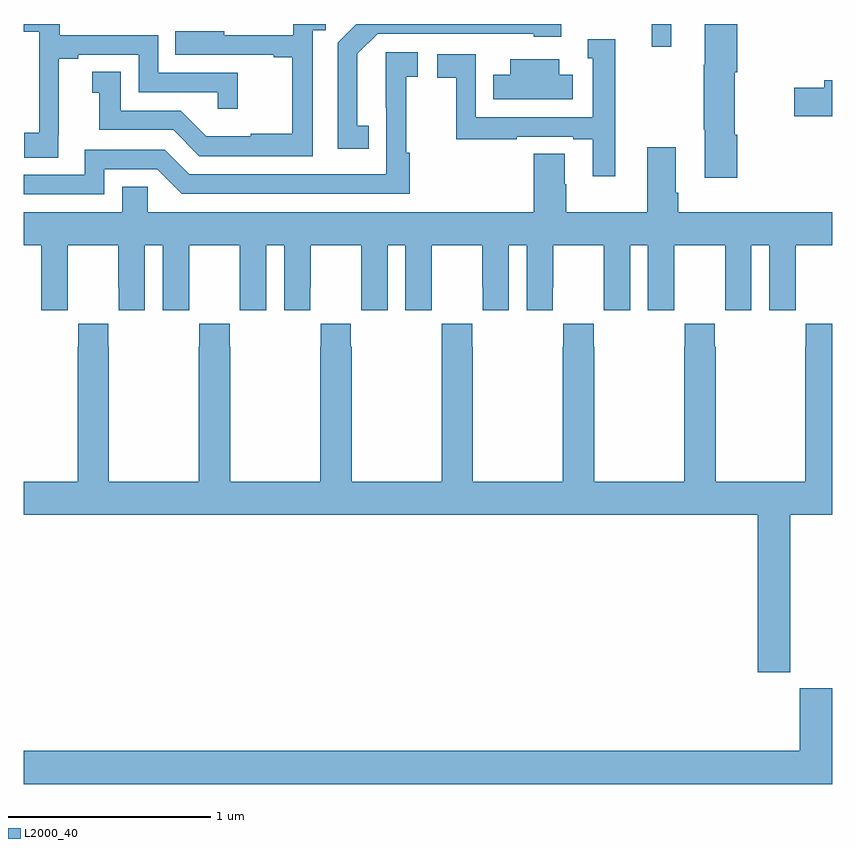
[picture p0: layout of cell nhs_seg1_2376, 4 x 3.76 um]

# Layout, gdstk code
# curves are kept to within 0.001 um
import gdstk
lib = gdstk.Library(unit=1e-6, precision=1e-09)
def R(c, l, rs):  # rectangles x0, y0, x1, y1
    for r in rs: c.add(gdstk.rectangle(r[:2], r[2:], *l))
def P(c, l, *ps):  # polygons
    for p in ps: c.add(gdstk.Polygon(p, *l))
L2000_40 = (2000, 40)

nhs_seg1_2376 = lib.new_cell('nhs_seg1_2376')
R(nhs_seg1_2376, L2000_40, [(244.107,514.086,244.204,514.199)])
P(nhs_seg1_2376, L2000_40, [(242.708,513.695),(242.65,513.695),(242.65,514.051),(242.751,514.152),(243.522,514.152),(243.522,514.136),(243.658,514.136),(243.658,514.199),(242.646,514.199),(242.553,514.106),(242.553,513.582),(242.708,513.582)],
  [(242.43,514.169),(242.495,514.169),(242.495,514.199),(242.334,514.199),(242.334,514.143),(241.993,514.143),(241.993,514.162),(241.75,514.162),(241.75,514.047),(242.237,514.047),(242.237,514.035),(242.329,514.035),(242.329,513.655),(242.123,513.655),(242.123,513.643),(241.904,513.643),(241.776,513.771),(241.48,513.771),(241.48,513.962),(241.34,513.962),(241.34,513.859),(241.373,513.859),(241.373,513.675),(241.74,513.675),(241.869,513.546),(242.43,513.546)],
  [(244.529,513.65),(244.516,513.65),(244.516,513.96),(244.529,513.96),(244.529,514.199),(244.37,514.199),(244.37,513.998),(244.363,513.998),(244.363,513.676),(244.37,513.676),(244.37,513.438),(244.529,513.438)],
  [(241.172,513.649),(241.174,513.649),(241.174,514.027),(241.27,514.027),(241.27,514.047),(241.569,514.047),(241.569,513.861),(241.959,513.861),(241.959,513.78),(242.06,513.78),(242.06,513.957),(241.665,513.957),(241.665,514.143),(241.178,514.143),(241.178,514.199),(241,514.199),(241,514.161),(241.077,514.161),(241.077,513.857),(241.076,513.857),(241.076,513.66),(241.002,513.66),(241.002,513.538),(241.172,513.538)],
  [(243.925,514.123),(243.791,514.123),(243.791,514.029),(243.816,514.029),(243.816,513.738),(243.237,513.738),(243.237,514.05),(243.045,514.05),(243.045,513.934),(243.139,513.934),(243.139,513.63),(243.44,513.63),(243.44,513.642),(243.719,513.642),(243.719,513.63),(243.815,513.63),(243.815,513.447),(243.925,513.447)],
  [(241.398,513.48),(241.662,513.48),(241.782,513.36),(242.909,513.36),(242.909,513.563),(242.892,513.563),(242.892,513.939),(242.95,513.939),(242.95,514.06),(242.792,514.06),(242.793,513.456),(241.818,513.456),(241.698,513.576),(241.302,513.576),(241.302,513.453),(241,513.453),(241,513.357),(241.398,513.357)],
  [(243.715,513.949),(243.649,513.949),(243.649,514.024),(243.407,514.024),(243.407,513.949),(243.322,513.949),(243.322,513.827),(243.715,513.827)],
  [(245,513.92),(244.961,513.92),(244.961,513.884),(244.812,513.884),(244.812,513.742),(245,513.742)],
  [(241.218,512.896),(241.219,512.896),(241.219,513.104),(241.469,513.104),(241.469,512.896),(241.47,512.896),(241.47,512.784),(241.6,512.784),(241.6,513.104),(241.688,513.104),(241.688,512.784),(241.818,512.784),(241.818,512.896),(241.819,512.896),(241.819,513.104),(242.069,513.104),(242.069,512.896),(242.07,512.896),(242.07,512.784),(242.2,512.784),(242.2,513.104),(242.288,513.104),(242.288,512.784),(242.418,512.784),(242.418,512.896),(242.419,512.896),(242.419,513.104),(242.669,513.104),(242.669,512.896),(242.67,512.896),(242.67,512.784),(242.8,512.784),(242.8,513.104),(242.888,513.104),(242.888,512.784),(243.018,512.784),(243.018,512.896),(243.019,512.896),(243.019,513.104),(243.269,513.104),(243.269,512.896),(243.27,512.896),(243.27,512.784),(243.4,512.784),(243.4,513.104),(243.488,513.104),(243.488,512.784),(243.618,512.784),(243.618,512.896),(243.619,512.896),(243.619,513.104),(243.869,513.104),(243.869,512.896),(243.87,512.896),(243.87,512.784),(244,512.784),(244,513.104),(244.088,513.104),(244.088,512.784),(244.218,512.784),(244.218,512.896),(244.219,512.896),(244.219,513.104),(244.469,513.104),(244.469,512.896),(244.47,512.896),(244.47,512.784),(244.6,512.784),(244.6,513.104),(244.688,513.104),(244.688,512.784),(244.818,512.784),(244.818,512.896),(244.819,512.896),(244.819,513.104),(245,513.104),(245,513.268),(244.238,513.268),(244.238,513.364),(244.225,513.364),(244.225,513.589),(244.085,513.589),(244.085,513.268),(243.684,513.268),(243.684,513.407),(243.676,513.407),(243.676,513.557),(243.524,513.557),(243.524,513.268),(241.614,513.268),(241.614,513.395),(241.487,513.395),(241.487,513.268),(241,513.268),(241,513.104),(241.088,513.104),(241.088,512.784),(241.218,512.784)],
  [(244.631,510.993),(244.791,510.993),(244.791,511.772),(245,511.772),(245,512.716),(244.869,512.716),(244.869,512.603),(244.867,512.603),(244.867,511.936),(244.422,511.936),(244.422,512.603),(244.419,512.603),(244.419,512.716),(244.269,512.716),(244.269,512.603),(244.267,512.603),(244.267,511.936),(243.822,511.936),(243.822,512.603),(243.819,512.603),(243.819,512.716),(243.669,512.716),(243.669,512.603),(243.667,512.603),(243.667,511.936),(243.222,511.936),(243.222,512.603),(243.219,512.603),(243.219,512.716),(243.069,512.716),(243.069,512.603),(243.067,512.603),(243.067,511.936),(242.622,511.936),(242.622,512.603),(242.619,512.603),(242.619,512.716),(242.469,512.716),(242.469,512.603),(242.467,512.603),(242.467,511.936),(242.022,511.936),(242.022,512.603),(242.019,512.603),(242.019,512.716),(241.869,512.716),(241.869,512.603),(241.867,512.603),(241.867,511.936),(241.422,511.936),(241.422,512.603),(241.419,512.603),(241.419,512.716),(241.269,512.716),(241.269,512.603),(241.267,512.603),(241.267,511.936),(241,511.936),(241,511.772),(244.631,511.772)],
  [(245,510.913),(244.838,510.913),(244.838,510.604),(241,510.604),(241,510.44),(245,510.44)])

lib.write_gds('nhs_seg1_2376.gds')
